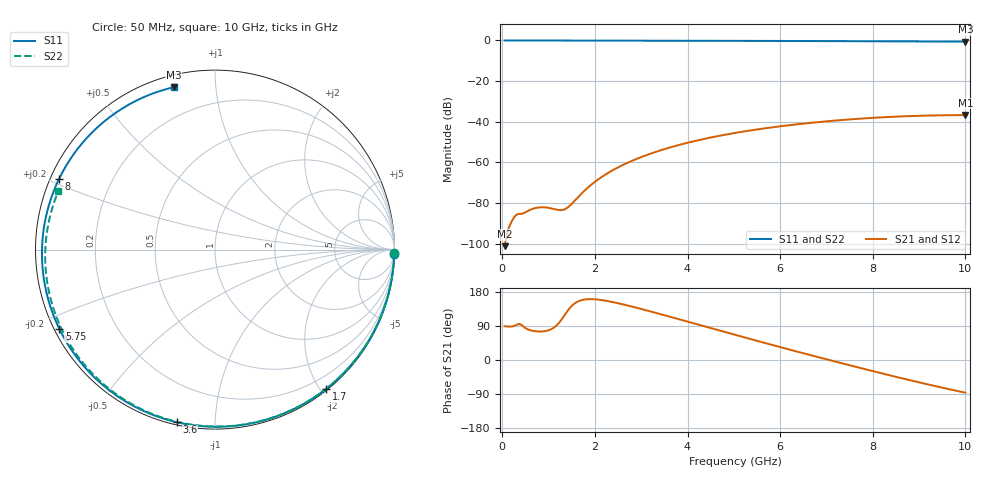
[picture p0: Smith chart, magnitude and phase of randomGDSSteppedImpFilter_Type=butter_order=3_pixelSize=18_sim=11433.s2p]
! freq	dB(S11)	phase(S11)	dB(S12)	phase(S12)
!  dB(S21)	phase(S21)	dB(S22)	phase(S22)
!S-par simulation data
#  GHz  S  DB  R 50
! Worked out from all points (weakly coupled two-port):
!   200 points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, 50 MHz to 10 GHz, reference 50 ohm
!   highest |S21| = -36.69 dB at 10 GHz (marker M1); lowest = -101.1 dB at 50 MHz (marker M2)
!   lowest |S11| = -0.6 dB at 10 GHz (marker M3), VSWR 29.05, Z = 2.76 + j38.8 ohm
!   |S11| at or under -10 dB: nowhere
!   |S22| runs from -0.6 to 0.0 dB; largest |S21 - S12| = 0
!   S11 on the Smith chart (normalised r, x): 50 MHz: 2, -77; 1.7 GHz: 0.02, -2.08; 3.6 GHz: 0.01, -0.80; 5.75 GHz: 0.01, -0.24; 8 GHz: 0.02, +0.22; 10 GHz: 0.06, +0.78
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0.05  -0.01 -1.5  -101.14 89.2  -101.14 89.2  -0.00 -1.1
0.4  -0.02 -12.4  -85.28 93.8  -85.28 93.8  -0.01 -9.2
0.75  -0.03 -23.1  -82.23 75.5  -82.23 75.5  -0.02 -17.3
1.5  -0.06 -45.5  -80.30 142.8  -80.30 142.8  -0.04 -34.2
1.7  -0.06 -51.4  -75.52 157.5  -75.52 157.5  -0.05 -38.7
1.75  -0.07 -52.8  -74.40 159.0  -74.40 159.0  -0.05 -39.8
2.05  -0.08 -61.3  -68.66 159.6  -68.66 159.6  -0.06 -46.3
2.45  -0.09 -72.4  -63.00 151.2  -63.00 151.2  -0.07 -55.0
2.9  -0.10 -84.5  -58.24 137.9  -58.24 137.9  -0.08 -64.5
3.4  -0.12 -97.4  -54.15 121.6  -54.15 121.6  -0.10 -74.8
3.6  -0.13 -102.5  -52.76 114.8  -52.76 114.8  -0.11 -78.9
4.3  -0.16 -119.5  -48.71 91.0  -48.71 91.0  -0.13 -92.8
5.05  -0.19 -137.1  -45.38 65.6  -45.38 65.6  -0.16 -107.1
5.75  -0.24 -153.0  -42.96 42.3  -42.96 42.3  -0.20 -120.2
6.25  -0.27 -164.2  -41.53 25.9  -41.53 25.9  -0.23 -129.3
6.7  -0.30 -174.4  -40.42 11.4  -40.42 11.4  -0.26 -137.5
7.35  -0.35 170.8  -39.09 -9.2  -39.09 -9.2  -0.32 -149.3
8  -0.41 155.6  -38.06 -29.3  -38.06 -29.3  -0.38 -161.2
8.35  -0.44 147.2  -37.62 -39.9  -37.62 -39.9  -0.41 -167.8
8.8  -0.48 136.0  -37.19 -53.2  -37.19 -53.2  -0.46 -176.3
9.25  -0.53 124.5  -36.90 -66.1  -36.90 -66.1  -0.52 174.9
10  -0.60 104.3  -36.69 -86.3  -36.69 -86.3  -0.62 159.7
